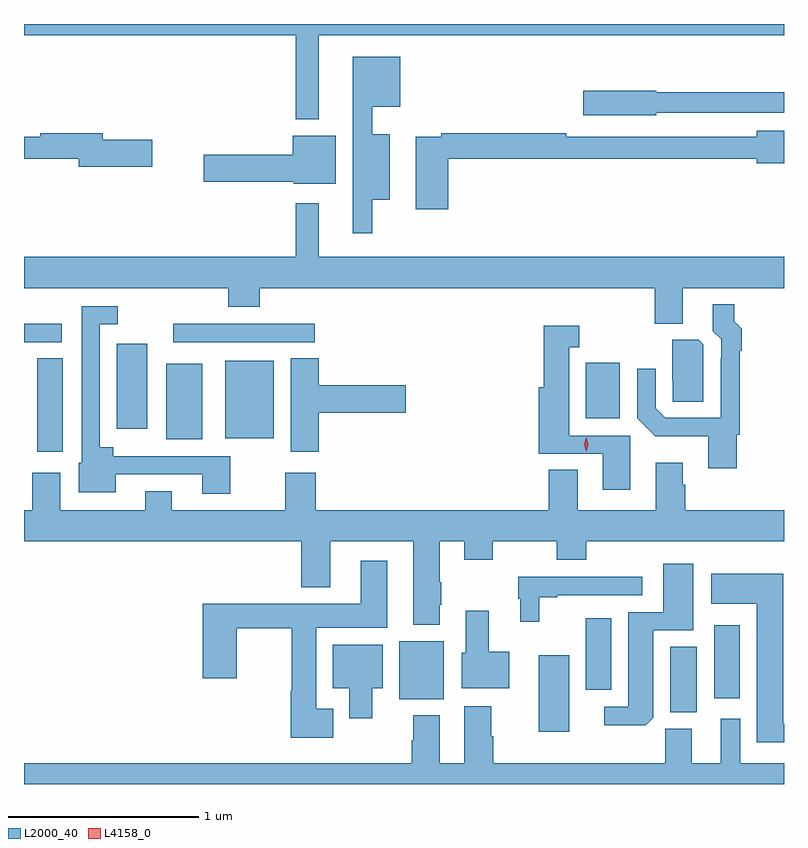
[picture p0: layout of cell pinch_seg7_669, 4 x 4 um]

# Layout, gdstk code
import gdstk
lib = gdstk.Library(unit=1e-6, precision=1e-09)
def R(c, l, rs):  # rectangles x0, y0, x1, y1
    for r in rs: c.add(gdstk.rectangle(r[:2], r[2:], *l))
def P(c, l, *ps):  # polygons
    for p in ps: c.add(gdstk.Polygon(p, *l))
L2000_40 = (2000, 40)
L4158_0 = (4158, 0)

pinch_seg7_669 = lib.new_cell('pinch_seg7_669')
R(pinch_seg7_669, L2000_40, [(276.989,1024.92,277.15,1025.323), (277.682,1025.023,277.822,1025.369), (276.257,1025.093,276.49,1025.398), (277.913,1025.097,278.047,1025.482), (277.238,1025.142,277.372,1025.518), (274.352,1026.396,274.486,1026.887), (275.03,1026.461,275.218,1026.859), (275.339,1026.467,275.596,1026.874), (274.769,1026.516,274.93,1026.964), (277.238,1026.572,277.417,1026.862), (274.281,1026.972,274.48,1027.068), (275.067,1026.972,275.812,1027.068)])
P(pinch_seg7_669, L2000_40, [(275.833,1028.588),(278.281,1028.588),(278.281,1028.646),(274.281,1028.646),(274.281,1028.588),(275.712,1028.588),(275.712,1028.144),(275.833,1028.144)],
  [(276.115,1027.721),(276.205,1027.721),(276.205,1028.065),(276.115,1028.065),(276.115,1028.21),(276.262,1028.21),(276.262,1028.473),(276.011,1028.473),(276.011,1027.545),(276.115,1027.545)],
  [(277.608,1028.178),(278.281,1028.178),(278.281,1028.287),(277.608,1028.287),(277.608,1028.295),(277.224,1028.295),(277.224,1028.165),(277.608,1028.165)],
  [(276.515,1027.936),(278.138,1027.936),(278.138,1027.913),(278.281,1027.913),(278.281,1028.083),(278.138,1028.083),(278.138,1028.052),(277.136,1028.052),(277.136,1028.072),(276.478,1028.072),(276.478,1028.052),(276.344,1028.052),(276.344,1027.671),(276.515,1027.671)],
  [(274.957,1028.036),(274.696,1028.036),(274.696,1028.072),(274.366,1028.072),(274.366,1028.052),(274.281,1028.052),(274.281,1027.936),(274.568,1027.936),(274.568,1027.894),(274.957,1027.894)],
  [(275.923,1028.059),(275.696,1028.059),(275.696,1027.958),(275.226,1027.958),(275.226,1027.816),(275.7,1027.816),(275.7,1027.805),(275.923,1027.805)],
  [(277.747,1027.256),(278.281,1027.256),(278.281,1027.42),(275.833,1027.42),(275.833,1027.702),(275.712,1027.702),(275.712,1027.42),(274.281,1027.42),(274.281,1027.256),(275.357,1027.256),(275.357,1027.157),(275.522,1027.157),(275.522,1027.256),(277.6,1027.256),(277.6,1027.069),(277.747,1027.069)],
  [(278.031,1026.483),(278.048,1026.483),(278.048,1026.926),(278.058,1026.926),(278.058,1027.042),(278.02,1027.081),(278.02,1027.171),(277.907,1027.171),(277.907,1027.03),(277.95,1026.987),(277.95,1026.887),(277.947,1026.887),(277.947,1026.573),(277.656,1026.573),(277.605,1026.624),(277.605,1026.832),(277.509,1026.832),(277.509,1026.57),(277.603,1026.476),(277.883,1026.476),(277.883,1026.309),(278.031,1026.309)],
  [(275.367,1026.372),(274.75,1026.372),(274.75,1026.418),(274.68,1026.418),(274.68,1027.065),(274.774,1027.065),(274.774,1027.161),(274.584,1027.161),(274.584,1026.336),(274.568,1026.336),(274.568,1026.182),(274.765,1026.182),(274.765,1026.276),(275.219,1026.276),(275.219,1026.174),(275.367,1026.174)],
  [(277.471,1026.48),(277.15,1026.48),(277.15,1026.944),(277.204,1026.944),(277.204,1027.057),(277.016,1027.057),(277.016,1026.733),(276.989,1026.733),(276.989,1026.384),(277.328,1026.384),(277.328,1026.195),(277.471,1026.195)],
  [(277.857,1026.96),(277.833,1026.984),(277.694,1026.984),(277.694,1026.769),(277.695,1026.769),(277.695,1026.658),(277.857,1026.658)],
  [(275.831,1026.599),(276.289,1026.599),(276.289,1026.746),(275.831,1026.746),(275.831,1026.887),(275.684,1026.887),(275.684,1026.396),(275.831,1026.396)],
  [(276.469,1025.59),(276.477,1025.59),(276.477,1025.709),(276.469,1025.709),(276.469,1025.924),(276.599,1025.924),(276.599,1025.825),(276.747,1025.825),(276.747,1025.924),(277.084,1025.924),(277.084,1025.825),(277.239,1025.825),(277.239,1025.924),(278.281,1025.924),(278.281,1026.088),(277.76,1026.088),(277.76,1026.221),(277.747,1026.221),(277.747,1026.337),(277.607,1026.337),(277.607,1026.088),(277.195,1026.088),(277.195,1026.299),(277.043,1026.299),(277.043,1026.088),(275.816,1026.088),(275.816,1026.283),(275.656,1026.283),(275.656,1026.088),(275.059,1026.088),(275.059,1026.187),(274.919,1026.187),(274.919,1026.088),(274.471,1026.088),(274.471,1026.283),(274.324,1026.283),(274.324,1026.088),(274.281,1026.088),(274.281,1025.924),(275.741,1025.924),(275.741,1025.681),(275.893,1025.681),(275.893,1025.924),(276.329,1025.924),(276.329,1025.483),(276.469,1025.483)],
  [(275.908,1025.041),(275.818,1025.041),(275.818,1025.468),(276.193,1025.468),(276.193,1025.821),(276.053,1025.821),(276.053,1025.596),(275.222,1025.596),(275.222,1025.202),(275.4,1025.202),(275.4,1025.467),(275.689,1025.467),(275.689,1025.137),(275.684,1025.137),(275.684,1024.889),(275.908,1024.889)],
  [(277.594,1024.996),(277.594,1025.454),(277.804,1025.454),(277.804,1025.805),(277.646,1025.805),(277.646,1025.55),(277.46,1025.55),(277.46,1025.052),(277.335,1025.052),(277.335,1024.955),(277.553,1024.955)],
  [(278.281,1024.964),(278.278,1024.964),(278.278,1025.752),(277.898,1025.752),(277.898,1025.594),(278.138,1025.594),(278.138,1024.866),(278.281,1024.866)],
  [(276.993,1025.628),(277.087,1025.628),(277.087,1025.64),(277.534,1025.64),(277.534,1025.736),(276.882,1025.736),(276.882,1025.622),(276.893,1025.622),(276.893,1025.499),(276.993,1025.499)],
  [(276.835,1025.341),(276.727,1025.341),(276.727,1025.557),(276.605,1025.557),(276.605,1025.337),(276.584,1025.337),(276.584,1025.15),(276.835,1025.15)],
  [(276.115,1025.15),(276.169,1025.15),(276.169,1025.38),(275.906,1025.38),(275.906,1025.15),(275.993,1025.15),(275.993,1024.992),(276.115,1024.992)],
  [(278.281,1024.756),(278.05,1024.756),(278.05,1024.99),(277.949,1024.99),(277.949,1024.756),(277.795,1024.756),(277.795,1024.938),(277.657,1024.938),(277.657,1024.756),(276.752,1024.756),(276.752,1024.898),(276.739,1024.898),(276.739,1025.055),(276.599,1025.055),(276.599,1024.756),(276.469,1024.756),(276.469,1025.008),(276.329,1025.008),(276.329,1024.877),(276.322,1024.877),(276.322,1024.756),(274.281,1024.756),(274.281,1024.646),(278.281,1024.646)])
P(pinch_seg7_669, L4158_0, [(277.24,1026.397),(277.24,1026.397),(277.23,1026.433),(277.239,1026.469),(277.239,1026.469),(277.24,1026.469),(277.25,1026.433),(277.24,1026.397)])

lib.write_gds('pinch_seg7_669.gds')
